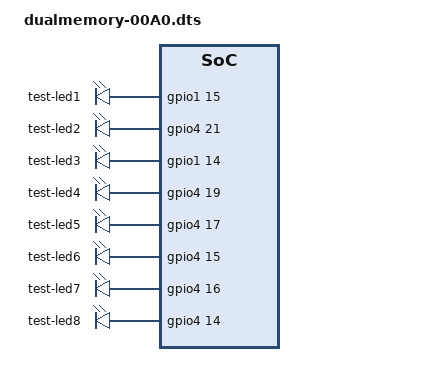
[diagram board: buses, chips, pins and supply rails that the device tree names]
/*
* Copyright (C) 2012 Texas Instruments Incorporated - http://www.ti.com/
*
* This program is free software; you can redistribute it and/or modify
* it under the terms of the GNU General Public License version 2 as
* published by the Free Software Foundation.
*/
/dts-v1/;
/plugin/;

/ {
	compatible = "ti,beaglebone", "ti,beaglebone-black";
	part-number = "dualmemory2";
	version = "00A0";

	/* state the resources this cape uses */
	exclusive-use =
		/* the pin header uses */
		"P9.24",	/* mcasp0: mcasp0_ahclkx */
		"P9.25",	/* mcasp0: mcasp0_axr2 */
		"P9.26",	/* mcasp0: mcasp0_fsx */
		"P9.27",	/* mcasp0: mcasp0_aclkx */
		"P9.28",	/* lcd: lcd_data0 */
		"P9.29",	/* lcd: lcd_data1 */
		"P9.30",	/* lcd: lcd_data2 */
		"P9.31",	/* lcd: lcd_data3 */
		/* the hardware IP uses */
		"gpio0_15",
		"gpio3_21",
		"gpio0_14",
		"gpio3_19",
		"gpio3_17",
		"gpio3_15",
		"gpio3_16",
		"gpio3_14";

	fragment@0 {
		target = <&am33xx_pinmux>;
		__overlay__ {
			debug_led_pins: pinmux_debug_led_pins {
                status = "okay";
				pinctrl-single,pins = <
					0x184 0x17       /* uart1_txd, OMAP_MUX_MODE7 | AM33XX_PIN_OUTPUT | AM33XX_PULL_ENA */
					0x1ac 0x17       /* mcasp0_ahclkx, OMAP_MUX_MODE7 | AM33XX_PIN_OUTPUT | AM33XX_PULL_ENA */
					0x180 0x17       /* uart1_rxd, OMAP_MUX_MODE7 | AM33XX_PIN_OUTPUT | AM33XX_PULL_ENA */
					0x1a4 0x17       /* mcasp0_fsr, OMAP_MUX_MODE7 | AM33XX_PIN_OUTPUT | AM33XX_PULL_ENA */
					0x19c 0x17       /* mcasp0_ahclkr, OMAP_MUX_MODE7 | AM33XX_PIN_OUTPUT | AM33XX_PULL_ENA */
					0x194 0x17       /* mcasp0_fsx, OMAP_MUX_MODE7 | AM33XX_PIN_OUTPUT | AM33XX_PULL_ENA */
					0x198 0x17       /* mcasp0_axr0, OMAP_MUX_MODE7 | AM33XX_PIN_OUTPUT | AM33XX_PULL_ENA */
					0x190 0x17       /* mcasp0_aclkx, OMAP_MUX_MODE7 | AM33XX_PIN_OUTPUT | AM33XX_PULL_ENA */
				>;
			};
		};
	};

	fragment@1 {
		target = <&ocp>;
		__overlay__ {
            debug-leds {
                compatible = "gpio-leds";
                test-led1 {
                    label = "test-led1";
                    gpios = <&gpio1 15 0>;
                    linux,default-trigger = "default-on";
                    default-state = "on";
                };
                test-led2 {
                    label = "test-led2";
                    gpios = <&gpio4 21 0>;
                    linux,default-trigger = "default-on";
                    default-state = "on";
                };
                test-led3 {
                    label = "test-led3";
                    gpios = <&gpio1 14 0>;
                    linux,default-trigger = "default-on";
                    default-state = "on";
                };
                test-led4 {
                    label = "test-led4";
                    gpios = <&gpio4 19 0>;
                    linux,default-trigger = "default-on";
                    default-state = "on";
                };
                test-led5 {
                    label = "test-led5";
                    gpios = <&gpio4 17 0>;
                    linux,default-trigger = "default-on";
                    default-state = "on";
                };
                test-led6 {
                    label = "test-led6";
                    gpios = <&gpio4 15 0>;
                    linux,default-trigger = "default-on";
                    default-state = "on";
                };
                test-led7 {
                    label = "test-led7";
                    gpios = <&gpio4 16 0>;
                    linux,default-trigger = "default-on";
                    default-state = "on";
                };
                test-led8 {
                    label = "test-led8";
                    gpios = <&gpio4 14 0>;
                    linux,default-trigger = "default-on";
                    default-state = "on";
                };
            };
		};
	};

};
